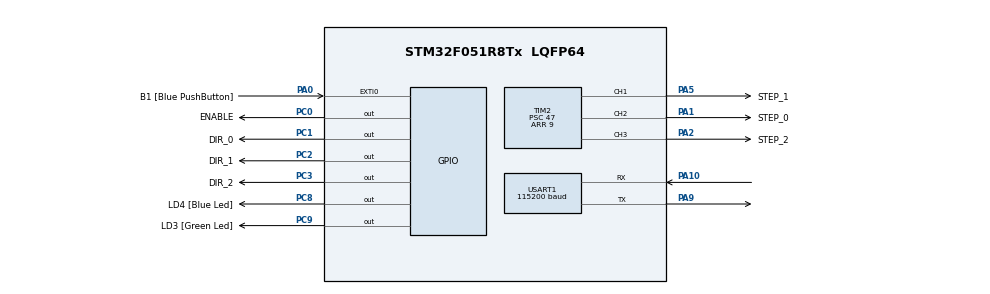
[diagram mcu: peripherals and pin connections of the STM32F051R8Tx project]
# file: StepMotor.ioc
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Mcu.Family=STM32F0
PA2.GPIO_PuPd=GPIO_PULLDOWN
VP_TIM2_VS_OPM.Mode=OPM_bit
TIM2.OCFastMode_PWM-PWM\ Generation1\ CH1=TIM_OCFAST_DISABLE
Dma.USART1_TX.1.MemInc=DMA_MINC_ENABLE
NVIC.TIM6_DAC_IRQn=true\:0\:0\:false\:false\:true\:true\:true
USART1.BaudRate=115200
PA14.GPIO_Label=SWCLK
PA0.GPIO_Label=B1 [Blue PushButton]
PA2.GPIO_Speed=GPIO_SPEED_FREQ_HIGH
PC0.GPIO_Label=ENABLE
PC2.GPIO_Speed=GPIO_SPEED_FREQ_HIGH
TIM2.Channel-PWM\ Generation2\ CH2=TIM_CHANNEL_2
PC3.GPIO_Speed=GPIO_SPEED_FREQ_HIGH
RCC.SYSCLKSource=RCC_SYSCLKSOURCE_PLLCLK
ProjectManager.StackSize=0x400
RCC.HCLKFreq_Value=48000000
PC3.Signal=GPIO_Output
PA1.GPIO_PuPd=GPIO_PULLDOWN
RCC.AHBFreq_Value=48000000
Dma.USART1_RX.0.Priority=DMA_PRIORITY_LOW
PC1.GPIO_PuPd=GPIO_PULLDOWN
RCC.PLLMUL=RCC_PLL_MUL12
TIM2.OC3Preload_PWM=DISABLE
PA14.Mode=Serial_Wire
PA5.GPIO_PuPd=GPIO_PULLDOWN
TIM2.Channel-PWM\ Generation1\ CH1=TIM_CHANNEL_1
TIM6.Period=4799
Dma.USART1_RX.0.MemInc=DMA_MINC_ENABLE
Dma.USART1_TX.1.PeriphDataAlignment=DMA_PDATAALIGN_BYTE
PA0.Signal=GPXTI0
Mcu.Package=LQFP64
TIM2.Prescaler=47
PA2.GPIO_Label=STEP_2
PA10.Signal=USART1_RX
TIM2.TIM_MasterOutputTrigger=TIM_TRGO_RESET
Dma.Request1=USART1_TX
RCC.APB1TimFreq_Value=48000000
Dma.USART1_RX.0.Mode=DMA_NORMAL
Dma.USART1_TX.1.Priority=DMA_PRIORITY_LOW
PC0.GPIO_PuPd=GPIO_PULLUP
NVIC.USART1_IRQn=true\:0\:0\:false\:false\:true\:true\:true
Dma.Request0=USART1_RX
PC2.GPIO_Label=DIR_1
Dma.USART1_RX.0.Instance=DMA1_Channel3
TIM2.OC1Preload_PWM=DISABLE
PC0.PinState=GPIO_PIN_SET
Dma.USART1_TX.1.Direction=DMA_MEMORY_TO_PERIPH
Dma.USART1_TX.1.Instance=DMA1_Channel2
TIM2.CounterMode=TIM_COUNTERMODE_UP
Dma.USART1_RX.0.PeriphDataAlignment=DMA_PDATAALIGN_BYTE
PA10.Mode=Asynchronous
PC9.GPIO_Label=LD3 [Green Led]
TIM2.OCMode_PWM-PWM\ Generation1\ CH1=TIM_OCMODE_PWM1
PC8.Signal=GPIO_Output
PC2.Signal=GPIO_Output
VP_TIM6_VS_ClockSourceINT.Mode=Enable_Timer
PC0.Signal=GPIO_Output
TIM2.OCPolarity_1=TIM_OCPOLARITY_HIGH
TIM2.Pulse-PWM\ Generation1\ CH1=0
PC8.GPIO_Label=LD4 [Blue Led]
USART1.VirtualMode-Asynchronous=VM_ASYNC
PA13.Signal=SYS_SWDIO
SH.S_TIM2_CH2.0=TIM2_CH2,PWM Generation2 CH2
PA9.Mode=Asynchronous
ProjectManager.TargetToolchain=STM32CubeIDE
Dma.USART1_RX.0.Direction=DMA_PERIPH_TO_MEMORY
PA9.Signal=USART1_TX
PA1.Signal=S_TIM2_CH2
Dma.USART1_RX.0.PeriphInc=DMA_PINC_DISABLE
PA5.Signal=S_TIM2_CH1_ETR
Dma.USART1_TX.1.MemDataAlignment=DMA_MDATAALIGN_BYTE
board=STM32F0DISCOVERY
SH.S_TIM2_CH3.0=TIM2_CH3,PWM Generation3 CH3
PA0.GPIO_ModeDefaultEXTI=GPIO_MODE_EVT_RISING
PA1.GPIO_Speed=GPIO_SPEED_FREQ_HIGH
PC1.GPIO_Label=DIR_0
PA1.GPIO_Label=STEP_0
TIM2.Channel-PWM\ Generation3\ CH3=TIM_CHANNEL_3
Dma.USART1_RX.0.MemDataAlignment=DMA_MDATAALIGN_BYTE
PC1.GPIO_Speed=GPIO_SPEED_FREQ_HIGH
TIM2.Period=9
PC2.GPIO_PuPd=GPIO_PULLDOWN
PA13.Mode=Serial_Wire
Mcu.Name=STM32F051R8Tx
PA13.GPIO_Label=SWDIO
PA2.Signal=S_TIM2_CH3
RCC.SYSCLKFreq_VALUE=48000000
PA5.GPIO_Label=STEP_1
TIM2.OC2Preload_PWM=DISABLE
Dma.USART1_TX.1.Mode=DMA_NORMAL
SH.S_TIM2_CH1_ETR.0=TIM2_CH1,PWM Generation1 CH1
PA14.Signal=SYS_SWCLK
ProjectManager.HeapSize=0x200
Dma.USART1_TX.1.PeriphInc=DMA_PINC_DISABLE
PA5.GPIO_Speed=GPIO_SPEED_FREQ_HIGH
NVIC.DMA1_Channel2_3_IRQn=true\:0\:0\:false\:false\:true\:false\:true
TIM2.AutoReloadPreload=TIM_AUTORELOAD_PRELOAD_DISABLE
PC3.GPIO_Label=DIR_2
PC9.Signal=GPIO_Output
PC3.GPIO_ModeDefaultOutputPP=GPIO_MODE_OUTPUT_PP
RCC.APB1Freq_Value=48000000
PC1.Signal=GPIO_Output
PC3.GPIO_PuPd=GPIO_PULLDOWN

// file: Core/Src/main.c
/* USER CODE BEGIN Header */
/**
  ******************************************************************************
  * @file           : main.c
  * @brief          : Main program body
  ******************************************************************************
  * @attention
  *
  * <h2><center>&copy; Copyright (c) 2021 STMicroelectronics.
  * All rights reserved.</center></h2>
  *
  * This software component is licensed by ST under BSD 3-Clause license,
  * the "License"; You may not use this file except in compliance with the
  * License. You may obtain a copy of the License at:
  *                        opensource.org/licenses/BSD-3-Clause
  *
  ******************************************************************************
  */
/* USER CODE END Header */
#include "main.h"
#include "dma.h"
#include "tim.h"
#include "usart.h"
#include "gpio.h"

/* USER CODE BEGIN Includes */

#include "StepMotorLib.h"
#include "StepMotorParams.h"
#include "StepMotorDriver.h"
#include "axis.h"

/* USER CODE END Includes */

void SystemClock_Config(void);

/* USER CODE BEGIN 0 */

void ErrorActions () {
  LL_GPIO_ResetOutputPin (LD3_GPIO_Port, LD3_Pin);
  LL_GPIO_ResetOutputPin (LD4_GPIO_Port, LD4_Pin);

  while (1) {
    LL_GPIO_SetOutputPin (LD3_GPIO_Port, LD3_Pin);
    LL_GPIO_SetOutputPin (LD4_GPIO_Port, LD4_Pin);
    LL_mDelay (200);

    LL_GPIO_ResetOutputPin (LD3_GPIO_Port, LD3_Pin);
    LL_GPIO_ResetOutputPin (LD4_GPIO_Port, LD4_Pin);
    LL_mDelay (200);
  }
}

void PrepareTimes () {
  LL_TIM_DisableCounter (SM_DRIVER_TIMER);
  LL_TIM_DisableCounter (TIM2);

  LL_TIM_ClearFlag_UPDATE (SM_DRIVER_TIMER);
  LL_TIM_ClearFlag_UPDATE (TIM2);

  LL_TIM_EnableIT_UPDATE (SM_DRIVER_TIMER);
}

/* USER CODE END 0 */

int main(void)
{

  /* MCU Configuration--------------------------------------------------------*/

  /* Reset of all peripherals, Initializes the Flash interface and the Systick. */

  LL_APB1_GRP2_EnableClock(LL_APB1_GRP2_PERIPH_SYSCFG);
  LL_APB1_GRP1_EnableClock(LL_APB1_GRP1_PERIPH_PWR);

  /* System interrupt init*/

  /* Configure the system clock */
  SystemClock_Config();

  /* Initialize all configured peripherals */
  MX_GPIO_Init();
  MX_DMA_Init();
  MX_TIM6_Init();
  MX_TIM2_Init();
  MX_USART1_UART_Init();

  /* Infinite loop */
  /* USER CODE BEGIN WHILE */

  if (InitializeDriverStepMotors () == -1)
    ErrorActions ();

  PrepareTimes ();

  SM_Driver_Enable_Step_Motors ();
  for (int i = 0; i < 3*0; ++i) {
    AxisRotate (0, +PI_HALF_URAD, 1000 * 500);
    AxisRotate (1, -PI_HALF_URAD / 8, 1000 * 500);
    LL_mDelay (1000);
    AxisRotate (2, PI_HALF_URAD / 4, 1000 * 500);
  }
  AxisRotate (1, PI_HALF_URAD, 1000 * 500);

  while (1)
  {
    /* USER CODE END WHILE */

    /* USER CODE BEGIN 3 */
  	//UART_RX(rx_buff, RX_BUFF_SIZE);

    //UART_TX(tx_buff, TX_BUFF_SIZE);

    LL_GPIO_SetOutputPin (LD4_GPIO_Port, LD4_Pin);
    LL_mDelay (1500);

    //AxisRotate (0, +PI_HALF_URAD, 1000 * 1000);
    //AxisRotate (1, +PI_HALF_URAD, 1000 * 1000);

    LL_GPIO_ResetOutputPin (LD4_GPIO_Port, LD4_Pin);
    LL_mDelay (1500);
  }
  /* USER CODE END 3 */
}

void SystemClock_Config(void)
{
  LL_FLASH_SetLatency(LL_FLASH_LATENCY_1);
  while(LL_FLASH_GetLatency() != LL_FLASH_LATENCY_1)
  {
  }
  LL_RCC_HSI_Enable();

   /* Wait till HSI is ready */
  while(LL_RCC_HSI_IsReady() != 1)
  {

  }
  LL_RCC_HSI_SetCalibTrimming(16);
  LL_RCC_PLL_ConfigDomain_SYS(LL_RCC_PLLSOURCE_HSI_DIV_2, LL_RCC_PLL_MUL_12);
  LL_RCC_PLL_Enable();

   /* Wait till PLL is ready */
  while(LL_RCC_PLL_IsReady() != 1)
  {

  }
  LL_RCC_SetAHBPrescaler(LL_RCC_SYSCLK_DIV_1);
  LL_RCC_SetAPB1Prescaler(LL_RCC_APB1_DIV_1);
  LL_RCC_SetSysClkSource(LL_RCC_SYS_CLKSOURCE_PLL);

   /* Wait till System clock is ready */
  while(LL_RCC_GetSysClkSource() != LL_RCC_SYS_CLKSOURCE_STATUS_PLL)
  {

  }
  LL_Init1msTick(48000000);
  LL_SetSystemCoreClock(48000000);
  LL_RCC_SetUSARTClockSource(LL_RCC_USART1_CLKSOURCE_PCLK1);
}

void Error_Handler(void)
{
  __disable_irq();
  while (1)
  {
  }
}

/************************ (C) COPYRIGHT STMicroelectronics *****END OF FILE****/
